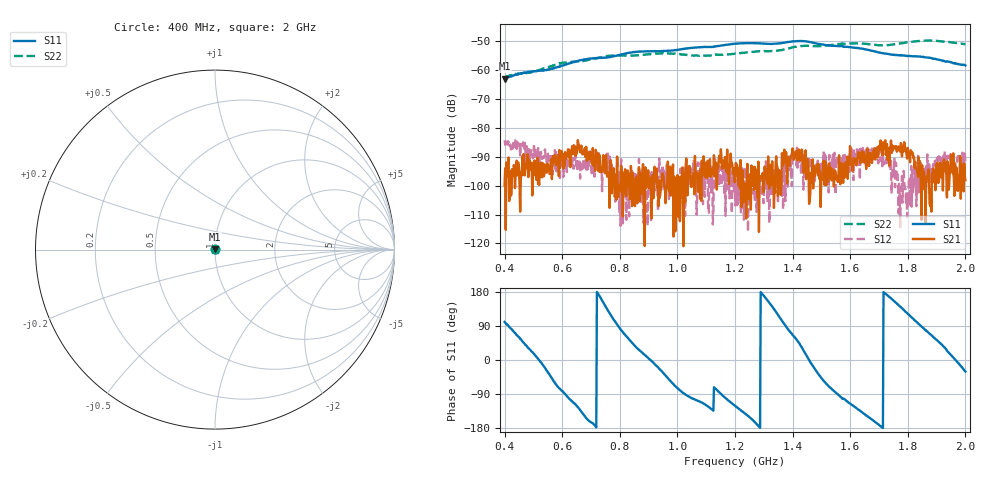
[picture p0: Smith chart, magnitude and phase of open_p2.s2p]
! PocketVna 1.60  pocketvna.com
! Live measurements ((Reflection-S11, Transmission-S21, Transmission-S12, Reflection-S22) Linear 400000000-2000000000/800 non-calibrated)
# Hz S RI R 50
! Hz  ReS11  ImS11  ReS21  ImS21  ReS12  ImS12  ReS22  ImS22
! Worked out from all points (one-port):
!   800 points, 400 MHz to 2 GHz, reference 50 ohm
!   lowest |S11| = -62.9 dB at 400 MHz (marker M1), VSWR 1.00, Z = 50 + j0.0703 ohm
!   |S11| at or under -10 dB: start of sweep to end of sweep
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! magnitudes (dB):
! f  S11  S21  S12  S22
! 400 MHz  -62.9  -100.0  -84.3  -62.5
! 438 MHz  -61.6  -96.1  -84.1  -61.3
! 496.1 MHz  -60.5  -103.4  -89.4  -60.6
! 542.2 MHz  -60.0  -93.1  -89.8  -59.3
! 596.2 MHz  -58.5  -90.0  -91.1  -57.6
! 668.3 MHz  -56.5  -88.6  -92.4  -56.9
! 760.5 MHz  -55.5  -95.5  -92.6  -55.1
! 852.6 MHz  -53.7  -107.1  -95.9  -54.9
! 934.7 MHz  -53.5  -107.1  -98.2  -54.3
! 1.091 GHz  -52.0  -89.8  -94.1  -55.0
! 1.121 GHz  -51.9  -94.8  -93.6  -54.9
! 1.201 GHz  -50.9  -96.4  -106.8  -54.3
! 1.345 GHz  -50.8  -93.1  -95.9  -53.2
! 1.421 GHz  -49.9  -87.5  -91.9  -51.7
! 1.467 GHz  -50.4  -94.0  -91.8  -51.6
! 1.517 GHz  -51.3  -99.9  -96.1  -51.4
! 1.599 GHz  -52.0  -86.3  -92.7  -50.7
! 1.648 GHz  -52.7  -88.5  -90.8  -50.8
! 1.734 GHz  -54.4  -87.3  -89.5  -51.3
! 1.828 GHz  -55.2  -93.9  -93.7  -50.0
! 1.87 GHz  -55.6  -95.7  -97.1  -49.7
! 2 GHz  -58.4  -98.1  -91.9  -51.0
